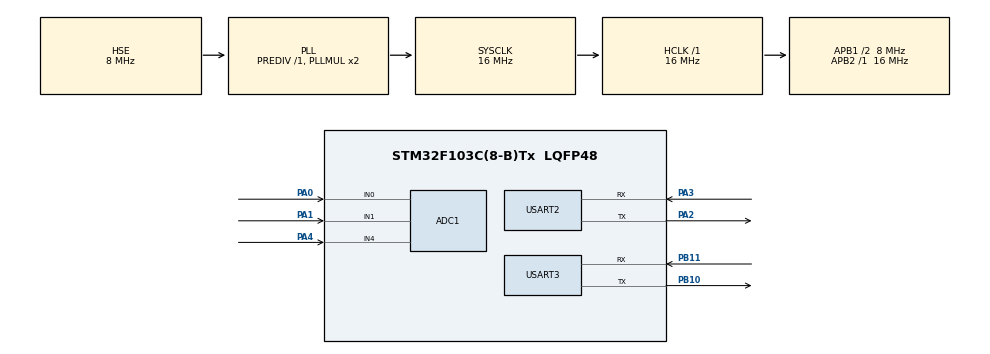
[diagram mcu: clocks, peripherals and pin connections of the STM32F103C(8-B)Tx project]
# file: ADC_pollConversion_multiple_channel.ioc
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ADC1.Channel-0\#ChannelRegularConversion=ADC_CHANNEL_0
ADC1.Channel-1\#ChannelRegularConversion=ADC_CHANNEL_1
ADC1.ContinuousConvMode=ENABLE
ADC1.NbrOfConversion=2
ADC1.NbrOfConversionFlag=1
ADC1.Rank-0\#ChannelRegularConversion=1
ADC1.Rank-1\#ChannelRegularConversion=2
ADC1.SamplingTime-0\#ChannelRegularConversion=ADC_SAMPLETIME_1CYCLE_5
ADC1.SamplingTime-1\#ChannelRegularConversion=ADC_SAMPLETIME_1CYCLE_5
ADC1.master=1
Dma.ADC1.0.Direction=DMA_PERIPH_TO_MEMORY
Dma.ADC1.0.Instance=DMA1_Channel1
Dma.ADC1.0.MemDataAlignment=DMA_MDATAALIGN_WORD
Dma.ADC1.0.MemInc=DMA_MINC_ENABLE
Dma.ADC1.0.Mode=DMA_CIRCULAR
Dma.ADC1.0.PeriphDataAlignment=DMA_PDATAALIGN_WORD
Dma.ADC1.0.PeriphInc=DMA_PINC_DISABLE
Dma.ADC1.0.Priority=DMA_PRIORITY_LOW
Dma.Request0=ADC1
Mcu.Family=STM32F1
Mcu.Name=STM32F103C(8-B)Tx
Mcu.Package=LQFP48
NVIC.ADC1_2_IRQn=true\:0\:0\:false\:false\:true\:true\:true
NVIC.DMA1_Channel1_IRQn=true\:0\:0\:false\:false\:true\:false\:true
NVIC.PriorityGroup=NVIC_PRIORITYGROUP_4
NVIC.USART2_IRQn=true\:0\:0\:false\:false\:true\:true\:true
NVIC.USART3_IRQn=true\:0\:0\:false\:false\:true\:true\:true
PA0-WKUP.Signal=ADCx_IN0
PA1.Signal=ADCx_IN1
PA13.Mode=Serial_Wire
PA13.Signal=SYS_JTMS-SWDIO
PA14.Mode=Serial_Wire
PA14.Signal=SYS_JTCK-SWCLK
PA2.Mode=Asynchronous
PA2.Signal=USART2_TX
PA3.Mode=Asynchronous
PA3.Signal=USART2_RX
PA4.Signal=ADCx_IN4
PB10.Mode=Asynchronous
PB10.Signal=USART3_TX
PB11.Mode=Asynchronous
PB11.Signal=USART3_RX
PD0-OSC_IN.Mode=HSE-External-Oscillator
PD0-OSC_IN.Signal=RCC_OSC_IN
PD1-OSC_OUT.Mode=HSE-External-Oscillator
PD1-OSC_OUT.Signal=RCC_OSC_OUT
ProjectManager.HeapSize=0x200
ProjectManager.StackSize=0x400
ProjectManager.TargetToolchain=STM32CubeIDE
RCC.AHBFreq_Value=16000000
RCC.APB1CLKDivider=RCC_HCLK_DIV2
RCC.APB1Freq_Value=8000000
RCC.APB1TimFreq_Value=16000000
RCC.APB2Freq_Value=16000000
RCC.APB2TimFreq_Value=16000000
RCC.HCLKFreq_Value=16000000
RCC.PLLSourceVirtual=RCC_PLLSOURCE_HSE
RCC.SYSCLKFreq_VALUE=16000000
RCC.SYSCLKSource=RCC_SYSCLKSOURCE_PLLCLK
RCC.USBFreq_Value=16000000
SH.ADCx_IN0.0=ADC1_IN0,IN0
SH.ADCx_IN1.0=ADC1_IN1,IN1
SH.ADCx_IN4.0=ADC1_IN4,IN4
USART2.VirtualMode=VM_ASYNC
USART3.VirtualMode=VM_ASYNC
board=custom

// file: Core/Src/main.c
/* USER CODE BEGIN Header */
/**
  ******************************************************************************
  * @file           : main.c
  * @brief          : Main program body
  ******************************************************************************
  * @attention
  *
  * <h2><center>&copy; Copyright (c) 2021 STMicroelectronics.
  * All rights reserved.</center></h2>
  *
  * This software component is licensed by ST under BSD 3-Clause license,
  * the "License"; You may not use this file except in compliance with the
  * License. You may obtain a copy of the License at:
  *                        opensource.org/licenses/BSD-3-Clause
  *
  ******************************************************************************
  */
/* USER CODE END Header */
#include "main.h"

/* USER CODE BEGIN Includes */
#include "string.h"
/* USER CODE END Includes */

ADC_HandleTypeDef hadc1;
DMA_HandleTypeDef hdma_adc1;

UART_HandleTypeDef huart2;
UART_HandleTypeDef huart3;

void SystemClock_Config(void);
static void MX_GPIO_Init(void);
static void MX_DMA_Init(void);
static void MX_USART2_UART_Init(void);
static void MX_ADC1_Init(void);
static void MX_USART3_UART_Init(void);

/* USER CODE BEGIN 0 */
uint32_t adc_val=0;
uint32_t adc_val1=0;
uint32_t adc_val2=0;

char buffer[30];
uint32_t buffer1;
/* USER CODE END 0 */

int main(void)
{

  /* MCU Configuration--------------------------------------------------------*/

  /* Reset of all peripherals, Initializes the Flash interface and the Systick. */
  HAL_Init();

  /* Configure the system clock */
  SystemClock_Config();

  /* Initialize all configured peripherals */
  MX_GPIO_Init();
  MX_DMA_Init();
  MX_USART2_UART_Init();
  MX_ADC1_Init();
  MX_USART3_UART_Init();
  /* USER CODE BEGIN 2 */

 // HAL_ADC_Start_IT(&hadc1);
 // HAL_ADC_Stop_IT(&hadc1);
uint8_t data[2000];
HAL_ADCEx_Calibration_Start(&hadc1);
  /* USER CODE END 2 */

  /* Infinite loop */
  while (1)
  {

    /* USER CODE BEGIN 3 */
  	  HAL_ADC_Start(&hadc1);

  	// adc_val2= HAL_ADC_GetValue(&hadc1);
     // Poll ADC1 Perihperal & TimeOut = 1mSec
    	HAL_ADC_PollForConversion(&hadc1, 100);
    	adc_val = HAL_ADC_GetValue(&hadc1);
     // Read The ADC Conversion Result & Map It To PWM DutyCycle
    	HAL_ADC_PollForConversion(&hadc1, 100);
    	adc_val1= HAL_ADC_GetValue(&hadc1);
	  sprintf(buffer,"adc1=%02d  adc2= %02d \n",adc_val,adc_val1);

	  HAL_UART_Transmit_IT(&huart3, buffer, strlen((char*)buffer));
	  HAL_Delay(100);
	  HAL_ADC_Stop(&hadc1);
	//  HAL_ADC_Start_IT(&hadc1);
  }
  /* USER CODE END 3 */
}

void SystemClock_Config(void)
{
  RCC_OscInitTypeDef RCC_OscInitStruct = {0};
  RCC_ClkInitTypeDef RCC_ClkInitStruct = {0};
  RCC_PeriphCLKInitTypeDef PeriphClkInit = {0};

  /** Initializes the RCC Oscillators according to the specified parameters
  * in the RCC_OscInitTypeDef structure.
  */
  RCC_OscInitStruct.OscillatorType = RCC_OSCILLATORTYPE_HSE;
  RCC_OscInitStruct.HSEState = RCC_HSE_ON;
  RCC_OscInitStruct.HSEPredivValue = RCC_HSE_PREDIV_DIV1;
  RCC_OscInitStruct.HSIState = RCC_HSI_ON;
  RCC_OscInitStruct.PLL.PLLState = RCC_PLL_ON;
  RCC_OscInitStruct.PLL.PLLSource = RCC_PLLSOURCE_HSE;
  RCC_OscInitStruct.PLL.PLLMUL = RCC_PLL_MUL2;
  if (HAL_RCC_OscConfig(&RCC_OscInitStruct) != HAL_OK)
  {
    Error_Handler();
  }
  /** Initializes the CPU, AHB and APB buses clocks
  */
  RCC_ClkInitStruct.ClockType = RCC_CLOCKTYPE_HCLK|RCC_CLOCKTYPE_SYSCLK
                              |RCC_CLOCKTYPE_PCLK1|RCC_CLOCKTYPE_PCLK2;
  RCC_ClkInitStruct.SYSCLKSource = RCC_SYSCLKSOURCE_PLLCLK;
  RCC_ClkInitStruct.AHBCLKDivider = RCC_SYSCLK_DIV1;
  RCC_ClkInitStruct.APB1CLKDivider = RCC_HCLK_DIV2;
  RCC_ClkInitStruct.APB2CLKDivider = RCC_HCLK_DIV1;

  if (HAL_RCC_ClockConfig(&RCC_ClkInitStruct, FLASH_LATENCY_0) != HAL_OK)
  {
    Error_Handler();
  }
  PeriphClkInit.PeriphClockSelection = RCC_PERIPHCLK_ADC;
  PeriphClkInit.AdcClockSelection = RCC_ADCPCLK2_DIV2;
  if (HAL_RCCEx_PeriphCLKConfig(&PeriphClkInit) != HAL_OK)
  {
    Error_Handler();
  }
}

static void MX_ADC1_Init(void)
{

  ADC_ChannelConfTypeDef sConfig = {0};

  /** Common config
  */
  hadc1.Instance = ADC1;
  hadc1.Init.ScanConvMode = ADC_SCAN_ENABLE;
  hadc1.Init.ContinuousConvMode = ENABLE;
  hadc1.Init.DiscontinuousConvMode = DISABLE;
  hadc1.Init.ExternalTrigConv = ADC_SOFTWARE_START;
  hadc1.Init.DataAlign = ADC_DATAALIGN_RIGHT;
  hadc1.Init.NbrOfConversion = 2;
  if (HAL_ADC_Init(&hadc1) != HAL_OK)
  {
    Error_Handler();
  }
  /** Configure Regular Channel
  */
  sConfig.Channel = ADC_CHANNEL_0;
  sConfig.Rank = ADC_REGULAR_RANK_1;
  sConfig.SamplingTime = ADC_SAMPLETIME_1CYCLE_5;
  if (HAL_ADC_ConfigChannel(&hadc1, &sConfig) != HAL_OK)
  {
    Error_Handler();
  }
  /** Configure Regular Channel
  */
  sConfig.Channel = ADC_CHANNEL_1;
  sConfig.Rank = ADC_REGULAR_RANK_2;
  if (HAL_ADC_ConfigChannel(&hadc1, &sConfig) != HAL_OK)
  {
    Error_Handler();
  }

}

static void MX_USART2_UART_Init(void)
{

  huart2.Instance = USART2;
  huart2.Init.BaudRate = 115200;
  huart2.Init.WordLength = UART_WORDLENGTH_8B;
  huart2.Init.StopBits = UART_STOPBITS_1;
  huart2.Init.Parity = UART_PARITY_NONE;
  huart2.Init.Mode = UART_MODE_TX_RX;
  huart2.Init.HwFlowCtl = UART_HWCONTROL_NONE;
  huart2.Init.OverSampling = UART_OVERSAMPLING_16;
  if (HAL_UART_Init(&huart2) != HAL_OK)
  {
    Error_Handler();
  }

}

static void MX_USART3_UART_Init(void)
{

  huart3.Instance = USART3;
  huart3.Init.BaudRate = 115200;
  huart3.Init.WordLength = UART_WORDLENGTH_8B;
  huart3.Init.StopBits = UART_STOPBITS_1;
  huart3.Init.Parity = UART_PARITY_NONE;
  huart3.Init.Mode = UART_MODE_TX_RX;
  huart3.Init.HwFlowCtl = UART_HWCONTROL_NONE;
  huart3.Init.OverSampling = UART_OVERSAMPLING_16;
  if (HAL_UART_Init(&huart3) != HAL_OK)
  {
    Error_Handler();
  }

}

static void MX_DMA_Init(void)
{

  /* DMA controller clock enable */
  __HAL_RCC_DMA1_CLK_ENABLE();

  /* DMA interrupt init */
  /* DMA1_Channel1_IRQn interrupt configuration */
  HAL_NVIC_SetPriority(DMA1_Channel1_IRQn, 0, 0);
  HAL_NVIC_EnableIRQ(DMA1_Channel1_IRQn);

}

static void MX_GPIO_Init(void)
{

  /* GPIO Ports Clock Enable */
  __HAL_RCC_GPIOD_CLK_ENABLE();
  __HAL_RCC_GPIOA_CLK_ENABLE();
  __HAL_RCC_GPIOB_CLK_ENABLE();

}

/* USER CODE BEGIN 4 */
void HAL_UART_TxCpltCallback(UART_HandleTypeDef *huart)
{
 //  HAL_UART_Transmit_IT(&huart2, data, sizeof (data));
}
void HAL_ADC_ConvCpltCallback(ADC_HandleTypeDef* hadc){
 // HAL_ADC_Start_IT(&hadc1);
//adc_val=buffer1;
 adc_val=HAL_ADC_Start_IT(&hadc1);
 HAL_ADC_Start_IT(&hadc1);
	//  sprintf(buffer,"adc=%02d",adc_val);
    //  HAL_UART_Transmit_IT(&huart2, buffer, strlen((char*)buffer));
}
/* USER CODE END 4 */

void Error_Handler(void)
{
  __disable_irq();
  while (1)
  {
  }
}

/************************ (C) COPYRIGHT STMicroelectronics *****END OF FILE****/
